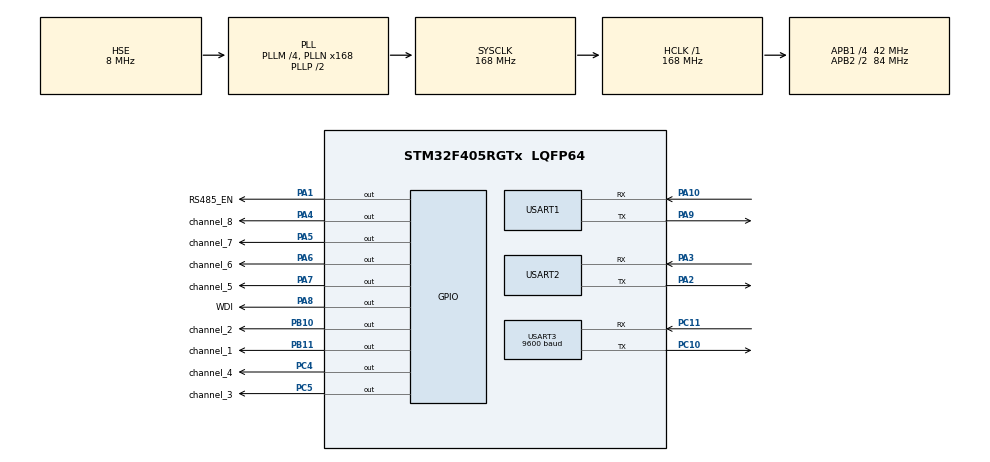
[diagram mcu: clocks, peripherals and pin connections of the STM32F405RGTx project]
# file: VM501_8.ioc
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FREERTOS.Tasks01=defaultTask,24,128,StartDefaultTask,Default,NULL,Dynamic,NULL,NULL
Mcu.Family=STM32F4
Mcu.Name=STM32F405RGTx
Mcu.Package=LQFP64
NVIC.PriorityGroup=NVIC_PRIORITYGROUP_4
NVIC.TIM2_IRQn=true\:15\:0\:false\:false\:true\:false\:false\:true\:true
NVIC.TimeBase=TIM2_IRQn
NVIC.TimeBaseIP=TIM2
PA1.GPIO_Label=RS485_EN
PA1.GPIO_PuPd=GPIO_PULLDOWN
PA1.Signal=GPIO_Output
PA10.Mode=Asynchronous
PA10.Signal=USART1_RX
PA13.Mode=Serial_Wire
PA13.Signal=SYS_JTMS-SWDIO
PA14.Mode=Serial_Wire
PA14.Signal=SYS_JTCK-SWCLK
PA2.Mode=Asynchronous
PA2.Signal=USART2_TX
PA3.Mode=Asynchronous
PA3.Signal=USART2_RX
PA4.GPIO_Label=channel_8
PA4.GPIO_PuPd=GPIO_PULLDOWN
PA4.Signal=GPIO_Output
PA5.GPIO_Label=channel_7
PA5.GPIO_PuPd=GPIO_PULLDOWN
PA5.Signal=GPIO_Output
PA6.GPIO_Label=channel_6
PA6.GPIO_PuPd=GPIO_PULLDOWN
PA6.Signal=GPIO_Output
PA7.GPIO_Label=channel_5
PA7.GPIO_PuPd=GPIO_PULLDOWN
PA7.Signal=GPIO_Output
PA8.GPIO_Label=WDI
PA8.GPIO_PuPd=GPIO_PULLDOWN
PA8.Signal=GPIO_Output
PA9.Mode=Asynchronous
PA9.Signal=USART1_TX
PB10.GPIO_Label=channel_2
PB10.GPIO_PuPd=GPIO_PULLDOWN
PB10.Signal=GPIO_Output
PB11.GPIO_Label=channel_1
PB11.GPIO_PuPd=GPIO_PULLDOWN
PB11.Signal=GPIO_Output
PC10.Mode=Asynchronous
PC10.Signal=USART3_TX
PC11.Mode=Asynchronous
PC11.Signal=USART3_RX
PC14-OSC32_IN.Mode=LSE-External-Oscillator
PC14-OSC32_IN.Signal=RCC_OSC32_IN
PC15-OSC32_OUT.Mode=LSE-External-Oscillator
PC15-OSC32_OUT.Signal=RCC_OSC32_OUT
PC4.GPIO_Label=channel_4
PC4.GPIO_PuPd=GPIO_PULLDOWN
PC4.Signal=GPIO_Output
PC5.GPIO_Label=channel_3
PC5.GPIO_PuPd=GPIO_PULLDOWN
PC5.Signal=GPIO_Output
PH0-OSC_IN.Mode=HSE-External-Oscillator
PH0-OSC_IN.Signal=RCC_OSC_IN
PH1-OSC_OUT.Mode=HSE-External-Oscillator
PH1-OSC_OUT.Signal=RCC_OSC_OUT
ProjectManager.HeapSize=0x200
ProjectManager.StackSize=0x400
ProjectManager.TargetToolchain=MDK-ARM V5.32
RCC.48MHZClocksFreq_Value=84000000
RCC.AHBFreq_Value=168000000
RCC.APB1CLKDivider=RCC_HCLK_DIV4
RCC.APB1Freq_Value=42000000
RCC.APB1TimFreq_Value=84000000
RCC.APB2CLKDivider=RCC_HCLK_DIV2
RCC.APB2Freq_Value=84000000
RCC.APB2TimFreq_Value=168000000
RCC.CortexFreq_Value=168000000
RCC.HCLKFreq_Value=168000000
RCC.HSE_VALUE=8000000
RCC.HSI_VALUE=16000000
RCC.PLLM=4
RCC.PLLN=168
RCC.PLLSourceVirtual=RCC_PLLSOURCE_HSE
RCC.SYSCLKFreq_VALUE=168000000
RCC.SYSCLKSource=RCC_SYSCLKSOURCE_PLLCLK
RCC.VCOOutputFreq_Value=336000000
USART1.VirtualMode=VM_ASYNC
USART2.VirtualMode=VM_ASYNC
USART3.BaudRate=9600
USART3.VirtualMode=VM_ASYNC
VP_FREERTOS_VS_CMSIS_V2.Mode=CMSIS_V2
VP_SYS_VS_tim2.Mode=TIM2
board=custom

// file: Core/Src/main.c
/* USER CODE BEGIN Header */
/**
  ******************************************************************************
  * @file           : main.c
  * @brief          : Main program body
  ******************************************************************************
  * @attention
  *
  * Copyright (c) 2026 STMicroelectronics.
  * All rights reserved.
  *
  * This software is licensed under terms that can be found in the LICENSE file
  * in the root directory of this software component.
  * If no LICENSE file comes with this software, it is provided AS-IS.
  *
  ******************************************************************************
  */
/* USER CODE END Header */
#include "main.h"
#include "cmsis_os.h"
#include "usart.h"
#include "gpio.h"

/* USER CODE BEGIN Includes */
#include "vm501.h"
#include "modbus_slave.h"
#include <stdio.h>
/* USER CODE END Includes */

void SystemClock_Config(void);
void MX_FREERTOS_Init(void);

int main(void)
{

  /* MCU Configuration--------------------------------------------------------*/

  /* Reset of all peripherals, Initializes the Flash interface and the Systick. */
  HAL_Init();

  /* Configure the system clock */
  SystemClock_Config();

  /* Initialize all configured peripherals */
  MX_GPIO_Init();
  MX_USART1_UART_Init();
  MX_USART3_UART_Init();
  MX_USART2_UART_Init();
  /* USER CODE BEGIN 2 */
  printf("USART1 printf ready!\r\n");
  VM501_Init(); // 初始化 Modbus 工作模式
  Modbus_Slave_Init(); // 启动 USART2 中断，全天候监听网关查询
  /* USER CODE END 2 */

  /* Init scheduler */
  osKernelInitialize();

  /* Call init function for freertos objects (in cmsis_os2.c) */
  MX_FREERTOS_Init();

  /* Start scheduler */
  osKernelStart();

  /* We should never get here as control is now taken by the scheduler */

  /* Infinite loop */
  while (1)
  {

    /* USER CODE BEGIN 3 */
    // FreeRTOS 控制，此循环不再执行
  }
  /* USER CODE END 3 */
}

void SystemClock_Config(void)
{
  RCC_OscInitTypeDef RCC_OscInitStruct = {0};
  RCC_ClkInitTypeDef RCC_ClkInitStruct = {0};

  /** Configure the main internal regulator output voltage
  */
  __HAL_RCC_PWR_CLK_ENABLE();
  __HAL_PWR_VOLTAGESCALING_CONFIG(PWR_REGULATOR_VOLTAGE_SCALE1);

  /** Initializes the RCC Oscillators according to the specified parameters
  * in the RCC_OscInitTypeDef structure.
  */
  RCC_OscInitStruct.OscillatorType = RCC_OSCILLATORTYPE_HSE;
  RCC_OscInitStruct.HSEState = RCC_HSE_ON;
  RCC_OscInitStruct.PLL.PLLState = RCC_PLL_ON;
  RCC_OscInitStruct.PLL.PLLSource = RCC_PLLSOURCE_HSE;
  RCC_OscInitStruct.PLL.PLLM = 4;
  RCC_OscInitStruct.PLL.PLLN = 168;
  RCC_OscInitStruct.PLL.PLLP = RCC_PLLP_DIV2;
  RCC_OscInitStruct.PLL.PLLQ = 4;
  if (HAL_RCC_OscConfig(&RCC_OscInitStruct) != HAL_OK)
  {
    Error_Handler();
  }

  /** Initializes the CPU, AHB and APB buses clocks
  */
  RCC_ClkInitStruct.ClockType = RCC_CLOCKTYPE_HCLK|RCC_CLOCKTYPE_SYSCLK
                              |RCC_CLOCKTYPE_PCLK1|RCC_CLOCKTYPE_PCLK2;
  RCC_ClkInitStruct.SYSCLKSource = RCC_SYSCLKSOURCE_PLLCLK;
  RCC_ClkInitStruct.AHBCLKDivider = RCC_SYSCLK_DIV1;
  RCC_ClkInitStruct.APB1CLKDivider = RCC_HCLK_DIV4;
  RCC_ClkInitStruct.APB2CLKDivider = RCC_HCLK_DIV2;

  if (HAL_RCC_ClockConfig(&RCC_ClkInitStruct, FLASH_LATENCY_5) != HAL_OK)
  {
    Error_Handler();
  }
}

void HAL_TIM_PeriodElapsedCallback(TIM_HandleTypeDef *htim)
{
  if (htim->Instance == TIM2)
  {
    HAL_IncTick();
  }
}

void Error_Handler(void)
{
  __disable_irq();
  while (1)
  {
  }
}

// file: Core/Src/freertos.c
/* USER CODE BEGIN Header */
/**
 ******************************************************************************
 * File Name          : freertos.c
 * Description        : Code for freertos applications
 ******************************************************************************
 * @attention
 *
 * Copyright (c) 2026 STMicroelectronics.
 * All rights reserved.
 *
 * This software is licensed under terms that can be found in the LICENSE file
 * in the root directory of this software component.
 * If no LICENSE file comes with this software, it is provided AS-IS.
 *
 ******************************************************************************
 */
/* USER CODE END Header */

#include "FreeRTOS.h"
#include "cmsis_os.h"
#include "main.h"
#include "task.h"

/* USER CODE BEGIN Includes */
#include "gpio.h"
#include "modbus_slave.h"
#include "vm501.h"
#include <stdio.h>

/* USER CODE END Includes */

/* Definitions for defaultTask */
osThreadId_t defaultTaskHandle;
const osThreadAttr_t defaultTask_attributes = {
    .name = "defaultTask",
    .stack_size = 128 * 4,
    .priority = (osPriority_t)osPriorityNormal,
};

/* USER CODE BEGIN FunctionPrototypes */
void Feed_Watchdog(void);
/* USER CODE END FunctionPrototypes */

void StartDefaultTask(void *argument);

void MX_FREERTOS_Init(void); /* (MISRA C 2004 rule 8.1) */

void MX_FREERTOS_Init(void) {

  /* Create the thread(s) */
  /* creation of defaultTask */
  defaultTaskHandle =
      osThreadNew(StartDefaultTask, NULL, &defaultTask_attributes);

}

void StartDefaultTask(void *argument) {
  /* USER CODE BEGIN StartDefaultTask */
  /* Infinite loop */
  for (;;) {
    for (uint8_t ch = 1; ch <= 8; ch++) {
      float freq = 0.0f, temp = 0.0f;
      int ret = VM501_ReadSensor(ch, &freq, &temp);

      uint16_t raw_freq = 0;
      uint16_t raw_temp = 0;

      if (ret == 0) {
        printf("[FreeRTOS] Channel %d: Freq = %.2f Hz, Temp = %.1f C\r\n", ch,
               freq, temp);
        raw_freq = (uint16_t)(freq * 10.0f);
        raw_temp = (int16_t)(temp * 10.0f);
      } else {
        printf("[FreeRTOS] Channel %d: Read Timeout or Error!\r\n", ch);
        raw_freq = 0;
        raw_temp = 0;
      }

      // 实时更新全局内存池，等待 Modbus 从机中断极速提取
      uint16_t base_idx = (ch - 1) * 2;
      Modbus_HoldingRegs[base_idx] = raw_freq;
      Modbus_HoldingRegs[base_idx + 1] = raw_temp;

      // 使用 RTOS 的延时，释放 CPU
      osDelay(100);

      // 调用封装好的喂狗函数
      Feed_Watchdog();
    }
  }
  /* USER CODE END StartDefaultTask */
}

/* USER CODE BEGIN Application */
/**
 * @brief  喂外部看门狗函数
 * @note   产生一个明显的 5ms 高电平脉冲，告知外部看门狗系统运行正常
 */
void Feed_Watchdog(void) {
  HAL_GPIO_WritePin(GPIOA, WDI_Pin, GPIO_PIN_SET);
  osDelay(5);
  HAL_GPIO_WritePin(GPIOA, WDI_Pin, GPIO_PIN_RESET);
}
/* USER CODE END Application */
